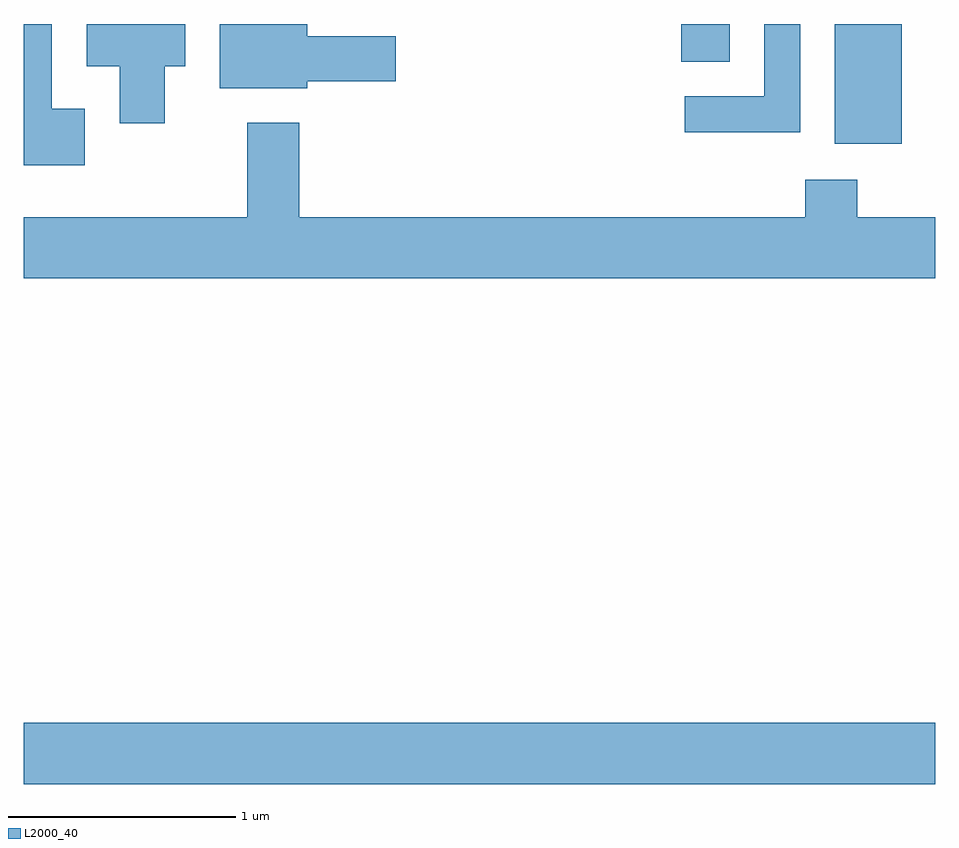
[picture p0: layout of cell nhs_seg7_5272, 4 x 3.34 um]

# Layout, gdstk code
import gdstk
lib = gdstk.Library(unit=1e-6, precision=1e-09)
def R(c, l, rs):  # rectangles x0, y0, x1, y1
    for r in rs: c.add(gdstk.rectangle(r[:2], r[2:], *l))
def P(c, l, *ps):  # polygons
    for p in ps: c.add(gdstk.Polygon(p, *l))
L2000_40 = (2000, 40)

nhs_seg7_5272 = lib.new_cell('nhs_seg7_5272')
R(nhs_seg7_5272, L2000_40, [(345.611,1780.916,349.611,1781.184), (349.171,1783.726,349.464,1784.252)])
P(nhs_seg7_5272, L2000_40, [(346.229,1784.066),(346.319,1784.066),(346.319,1784.252),(345.886,1784.252),(345.886,1784.066),(346.031,1784.066),(346.031,1783.816),(346.229,1783.816)],
  [(345.879,1783.879),(345.734,1783.879),(345.734,1784.252),(345.611,1784.252),(345.611,1783.631),(345.879,1783.631)],
  [(346.854,1784.001),(347.244,1784.001),(347.244,1784.199),(346.854,1784.199),(346.854,1784.252),(346.471,1784.252),(346.471,1783.971),(346.854,1783.971)],
  [(348.709,1784.252),(348.126,1784.252),(348.126,1784.251),(348.496,1784.251),(348.496,1784.086),(348.709,1784.086)],
  [(349.019,1784.252),(348.861,1784.252),(348.861,1783.934),(348.513,1783.934),(348.513,1783.776),(349.019,1783.776)],
  [(349.611,1783.404),(349.269,1783.404),(349.269,1783.569),(349.041,1783.569),(349.041,1783.404),(346.819,1783.404),(346.819,1783.819),(346.591,1783.819),(346.591,1783.404),(345.611,1783.404),(345.611,1783.136),(349.611,1783.136)])

lib.write_gds('nhs_seg7_5272.gds')
